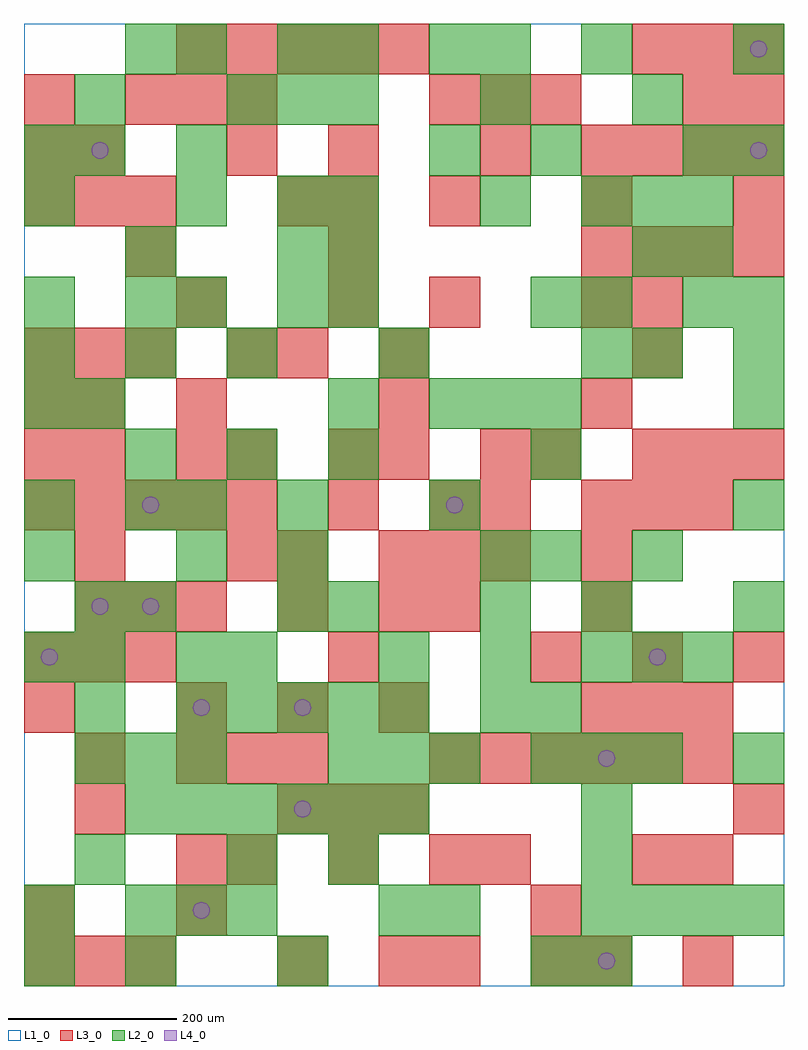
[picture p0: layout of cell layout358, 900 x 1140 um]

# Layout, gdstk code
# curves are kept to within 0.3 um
import gdstk
lib = gdstk.Library(unit=1e-6, precision=1e-09)
def R(c, l, rs):  # rectangles x0, y0, x1, y1
    for r in rs: c.add(gdstk.rectangle(r[:2], r[2:], *l))
def A(c, l, x, y, w, h, nx, ny, dx, dy):  # array of equal rectangles
    R(c, l, [(x+i*dx, y+j*dy, x+i*dx+w, y+j*dy+h) for i in range(nx) for j in range(ny)])
def P(c, l, *ps):  # polygons
    for p in ps: c.add(gdstk.Polygon(p, *l))
L1_0 = (1, 0)
L2_0 = (2, 0)
L3_0 = (3, 0)
L4_0 = (4, 0)

layout358 = lib.new_cell('layout358')
R(layout358, L1_0, [(0,0,900,1140)])
A(layout358, L2_0, 120, 60, 60, 60, 3, 1, 60, 0)
A(layout358, L2_0, 660, 60, 60, 60, 4, 1, 60, 0)
A(layout358, L2_0, 120, 180, 60, 60, 6, 1, 60, 0)
A(layout358, L2_0, 60, 240, 60, 60, 3, 1, 60, 0)
A(layout358, L2_0, 360, 240, 60, 60, 3, 1, 60, 0)
A(layout358, L2_0, 600, 240, 60, 60, 3, 1, 60, 0)
A(layout358, L2_0, 60, 300, 60, 60, 1, 3, 0, 60)
A(layout358, L2_0, 180, 300, 60, 60, 5, 1, 60, 0)
A(layout358, L2_0, 420, 360, 60, 60, 3, 1, 120, 0)
A(layout358, L2_0, 300, 420, 60, 60, 1, 3, 0, 60)
A(layout358, L2_0, 840, 420, 60, 60, 1, 3, 0, 120)
A(layout358, L2_0, 0, 540, 60, 60, 1, 4, 0, 120)
A(layout358, L2_0, 120, 600, 60, 60, 3, 1, 120, 0)
A(layout358, L2_0, 600, 600, 60, 60, 1, 3, 0, 180)
A(layout358, L2_0, 480, 660, 60, 60, 3, 1, 60, 0)
A(layout358, L2_0, 0, 720, 60, 60, 3, 1, 120, 0)
A(layout358, L2_0, 300, 780, 60, 60, 1, 3, 0, 60)
A(layout358, L2_0, 360, 780, 60, 60, 1, 3, 0, 60)
A(layout358, L2_0, 660, 900, 60, 60, 3, 1, 60, 0)
A(layout358, L2_0, 240, 1020, 60, 60, 3, 1, 60, 0)
R(layout358, L2_0, [(0,0,60,60), (120,0,180,60), (300,0,360,60), (600,0,660,60), (660,0,720,60), (0,60,60,120), (420,60,480,120), (480,60,540,120), (60,120,120,180), (240,120,300,180), (360,120,420,180), (660,120,720,180), (660,180,720,240), (840,240,900,300), (540,300,600,360), (600,300,660,360), (0,360,60,420), (180,360,240,420), (240,360,300,420), (720,360,780,420), (780,360,840,420), (120,420,180,480), (360,420,420,480), (540,420,600,480), (660,420,720,480), (0,480,60,540), (180,480,240,540), (540,480,600,540), (600,480,660,540), (720,480,780,540), (120,540,180,600), (180,540,240,600), (480,540,540,600), (60,660,120,720), (360,660,420,720), (420,720,480,780), (660,720,720,780), (720,720,780,780), (840,720,900,780), (120,780,180,840), (180,780,240,840), (660,780,720,840), (780,780,840,840), (840,780,900,840), (120,840,180,900), (720,840,780,900), (780,840,840,900), (180,900,240,960), (540,900,600,960), (0,960,60,1020), (60,960,120,1020), (180,960,240,1020), (480,960,540,1020), (780,960,840,1020), (840,960,900,1020), (60,1020,120,1080), (540,1020,600,1080), (720,1020,780,1080), (120,1080,180,1140), (180,1080,240,1140), (300,1080,360,1140), (360,1080,420,1140), (480,1080,540,1140), (540,1080,600,1140), (660,1080,720,1140), (840,1080,900,1140)])
A(layout358, L3_0, 0, 0, 60, 60, 3, 3, 60, 360)
A(layout358, L3_0, 240, 120, 60, 60, 3, 1, 120, 0)
A(layout358, L3_0, 300, 180, 60, 60, 3, 1, 60, 0)
A(layout358, L3_0, 180, 240, 60, 60, 3, 1, 60, 0)
A(layout358, L3_0, 480, 240, 60, 60, 6, 1, 60, 0)
A(layout358, L3_0, 180, 300, 60, 60, 3, 1, 120, 0)
A(layout358, L3_0, 660, 300, 60, 60, 3, 2, 60, 240)
A(layout358, L3_0, 600, 360, 60, 60, 3, 1, 120, 0)
A(layout358, L3_0, 60, 420, 60, 60, 3, 1, 60, 0)
A(layout358, L3_0, 240, 480, 60, 60, 1, 3, 0, 120)
A(layout358, L3_0, 420, 480, 60, 60, 3, 1, 60, 0)
A(layout358, L3_0, 0, 540, 60, 60, 5, 1, 60, 0)
A(layout358, L3_0, 720, 600, 60, 60, 3, 2, 60, 480)
A(layout358, L3_0, 180, 660, 60, 60, 3, 1, 240, 0)
A(layout358, L3_0, 360, 780, 60, 60, 1, 4, 0, 60)
A(layout358, L3_0, 660, 840, 60, 60, 4, 2, 60, 120)
A(layout358, L3_0, 0, 900, 60, 60, 3, 1, 60, 0)
A(layout358, L3_0, 480, 900, 60, 60, 3, 1, 180, 0)
A(layout358, L3_0, 120, 1020, 60, 60, 3, 1, 60, 0)
A(layout358, L3_0, 480, 1020, 60, 60, 3, 1, 60, 0)
A(layout358, L3_0, 180, 1080, 60, 60, 5, 1, 60, 0)
R(layout358, L3_0, [(300,0,360,60), (420,0,480,60), (480,0,540,60), (600,0,660,60), (660,0,720,60), (780,0,840,60), (0,60,60,120), (180,60,240,120), (600,60,660,120), (180,120,240,180), (540,120,600,180), (720,120,780,180), (780,120,840,180), (60,180,120,240), (840,180,900,240), (60,240,120,300), (0,300,60,360), (360,360,420,420), (300,420,360,480), (420,420,480,480), (480,420,540,480), (660,420,720,480), (60,480,120,540), (300,480,360,540), (660,480,720,540), (360,540,420,600), (480,540,540,600), (540,540,600,600), (0,600,60,660), (60,600,120,660), (180,600,240,660), (360,600,420,660), (420,600,480,660), (540,600,600,660), (600,600,660,660), (0,660,60,720), (60,660,120,720), (300,720,360,780), (420,720,480,780), (720,720,780,780), (180,780,240,840), (480,780,540,840), (660,780,720,840), (720,780,780,840), (120,840,180,900), (300,900,360,960), (0,960,60,1020), (60,960,120,1020), (240,960,300,1020), (540,960,600,1020), (0,1020,60,1080), (780,1020,840,1080), (840,1020,900,1080)])
P(layout358, L4_0, [(40,390),(39.239,393.827),(37.071,397.071),(33.827,399.239),(30,400),(26.173,399.239),(22.929,397.071),(20.761,393.827),(20,390),(20.761,386.173),(22.929,382.929),(26.173,380.761),(30,380),(33.827,380.761),(37.071,382.929),(39.239,386.173)],
  [(100,450),(99.239,453.827),(97.071,457.071),(93.827,459.239),(90,460),(86.173,459.239),(82.929,457.071),(80.761,453.827),(80,450),(80.761,446.173),(82.929,442.929),(86.173,440.761),(90,440),(93.827,440.761),(97.071,442.929),(99.239,446.173)],
  [(100,990),(99.239,993.827),(97.071,997.071),(93.827,999.239),(90,1000),(86.173,999.239),(82.929,997.071),(80.761,993.827),(80,990),(80.761,986.173),(82.929,982.929),(86.173,980.761),(90,980),(93.827,980.761),(97.071,982.929),(99.239,986.173)],
  [(160,450),(159.239,453.827),(157.071,457.071),(153.827,459.239),(150,460),(146.173,459.239),(142.929,457.071),(140.761,453.827),(140,450),(140.761,446.173),(142.929,442.929),(146.173,440.761),(150,440),(153.827,440.761),(157.071,442.929),(159.239,446.173)],
  [(160,570),(159.239,573.827),(157.071,577.071),(153.827,579.239),(150,580),(146.173,579.239),(142.929,577.071),(140.761,573.827),(140,570),(140.761,566.173),(142.929,562.929),(146.173,560.761),(150,560),(153.827,560.761),(157.071,562.929),(159.239,566.173)],
  [(220,90),(219.239,93.827),(217.071,97.071),(213.827,99.239),(210,100),(206.173,99.239),(202.929,97.071),(200.761,93.827),(200,90),(200.761,86.173),(202.929,82.929),(206.173,80.761),(210,80),(213.827,80.761),(217.071,82.929),(219.239,86.173)],
  [(220,330),(219.239,333.827),(217.071,337.071),(213.827,339.239),(210,340),(206.173,339.239),(202.929,337.071),(200.761,333.827),(200,330),(200.761,326.173),(202.929,322.929),(206.173,320.761),(210,320),(213.827,320.761),(217.071,322.929),(219.239,326.173)],
  [(340,210),(339.239,213.827),(337.071,217.071),(333.827,219.239),(330,220),(326.173,219.239),(322.929,217.071),(320.761,213.827),(320,210),(320.761,206.173),(322.929,202.929),(326.173,200.761),(330,200),(333.827,200.761),(337.071,202.929),(339.239,206.173)],
  [(340,330),(339.239,333.827),(337.071,337.071),(333.827,339.239),(330,340),(326.173,339.239),(322.929,337.071),(320.761,333.827),(320,330),(320.761,326.173),(322.929,322.929),(326.173,320.761),(330,320),(333.827,320.761),(337.071,322.929),(339.239,326.173)],
  [(520,570),(519.239,573.827),(517.071,577.071),(513.827,579.239),(510,580),(506.173,579.239),(502.929,577.071),(500.761,573.827),(500,570),(500.761,566.173),(502.929,562.929),(506.173,560.761),(510,560),(513.827,560.761),(517.071,562.929),(519.239,566.173)],
  [(700,30),(699.239,33.827),(697.071,37.071),(693.827,39.239),(690,40),(686.173,39.239),(682.929,37.071),(680.761,33.827),(680,30),(680.761,26.173),(682.929,22.929),(686.173,20.761),(690,20),(693.827,20.761),(697.071,22.929),(699.239,26.173)],
  [(700,270),(699.239,273.827),(697.071,277.071),(693.827,279.239),(690,280),(686.173,279.239),(682.929,277.071),(680.761,273.827),(680,270),(680.761,266.173),(682.929,262.929),(686.173,260.761),(690,260),(693.827,260.761),(697.071,262.929),(699.239,266.173)],
  [(760,390),(759.239,393.827),(757.071,397.071),(753.827,399.239),(750,400),(746.173,399.239),(742.929,397.071),(740.761,393.827),(740,390),(740.761,386.173),(742.929,382.929),(746.173,380.761),(750,380),(753.827,380.761),(757.071,382.929),(759.239,386.173)],
  [(880,990),(879.239,993.827),(877.071,997.071),(873.827,999.239),(870,1000),(866.173,999.239),(862.929,997.071),(860.761,993.827),(860,990),(860.761,986.173),(862.929,982.929),(866.173,980.761),(870,980),(873.827,980.761),(877.071,982.929),(879.239,986.173)],
  [(880,1110),(879.239,1113.827),(877.071,1117.071),(873.827,1119.239),(870,1120),(866.173,1119.239),(862.929,1117.071),(860.761,1113.827),(860,1110),(860.761,1106.173),(862.929,1102.929),(866.173,1100.761),(870,1100),(873.827,1100.761),(877.071,1102.929),(879.239,1106.173)])

lib.write_gds('layout358.gds')
